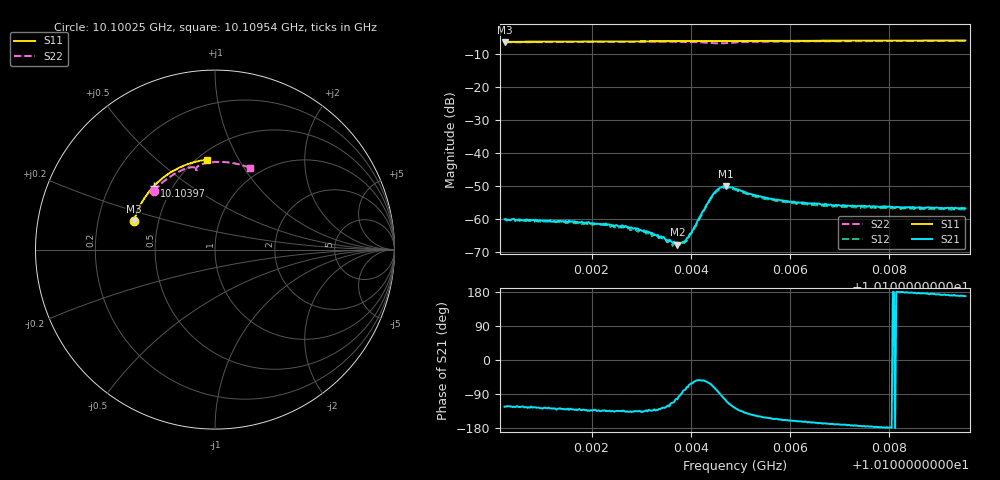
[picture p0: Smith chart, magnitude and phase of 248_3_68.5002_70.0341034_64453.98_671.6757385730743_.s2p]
#  HZ  S  RI  R  50.00
! Rohde & Schwarz Vector Network Analyzer
! Rohde-Schwarz,ZNB20-2Port,1311601062101988,3.16
! Created: UTC 3/20/2024, 4:59:44 PM
! freq[Hz]  re:S11  im:S11  re:S21  im:S21  re:S12  im:S12  re:S22  im:S22
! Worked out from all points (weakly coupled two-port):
!   401 points, 10.10025 GHz to 10.10954 GHz, reference 50 ohm
!   highest |S21| = -50.04 dB at 10.10471 GHz (marker M1); lowest = -67.7 dB at 10.10373 GHz (marker M2)
!   lowest |S11| = -6.4 dB at 10.10025 GHz (marker M3), VSWR 2.84, Z = 18.1 + j7.51 ohm
!   |S11| at or under -10 dB: nowhere
!   |S22| runs from -6.9 to -6.1 dB; largest |S21 - S12| = 0.00034
!   S11 on the Smith chart (normalised r, x): 10.10025 GHz: 0.36, +0.15; 10.10397 GHz: 0.40, +0.37; 10.10954 GHz: 0.56, +0.75
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1.0100247e10  -0.4517 0.1601  -0.000553 -0.000844  -0.000451 -0.000851  -0.3394 0.3279
1.0101409e10  -0.4268 0.2265  -0.000586 -0.000728  -0.00052 -0.000763  -0.2857 0.3803
1.0101804e10  -0.4162 0.248  -0.000624 -0.000682  -0.000528 -0.00067  -0.2653 0.396
1.0102199e10  -0.4045 0.2689  -0.000585 -0.000594  -0.000524 -0.000652  -0.2442 0.4108
1.0102664e10  -0.3891 0.2929  -0.000546 -0.000546  -0.000474 -0.00055  -0.218 0.4267
1.0103013e10  -0.377 0.3101  -0.000497 -0.000454  -0.000415 -0.000496  -0.1974 0.4373
1.0103175e10  -0.371 0.318  -0.000436 -0.000469  -0.000371 -0.000447  -0.1874 0.4419
1.0103361e10  -0.364 0.3268  -0.000328 -0.000405  -0.000297 -0.000438  -0.1755 0.4468
1.010364e10  -0.353 0.3397  -0.000166 -0.000406  -0.000131 -0.000376  -0.157 0.4533
1.0103733e10  -0.3494 0.3439  -9.91e-05 -0.000401  -2.82e-05 -0.000446  -0.1505 0.4552
1.0103849e10  -0.3447 0.3492  7.14e-05 -0.000446  9.07e-05 -0.000446  -0.1419 0.457
1.0103965e10  -0.3399 0.3542  0.00023 -0.000516  0.000277 -0.000456  -0.1333 0.4585
1.0104058e10  -0.3359 0.3584  0.000382 -0.000609  0.000427 -0.000557  -0.1261 0.4588
1.0104314e10  -0.3247 0.3692  0.000898 -0.00137  0.000964 -0.00124  -0.1062 0.454
1.0104453e10  -0.3185 0.375  0.00084 -0.00224  0.000996 -0.00205  -0.1003 0.4469
1.010457e10  -0.3137 0.3797  0.00019 -0.00292  0.000424 -0.00276  -0.1017 0.4422
1.0104709e10  -0.3073 0.3852  -0.000873 -0.00302  -0.000621 -0.00296  -0.1058 0.4455
1.0104895e10  -0.2987 0.3926  -0.00172 -0.00234  -0.00146 -0.0024  -0.1022 0.4574
1.0105546e10  -0.2675 0.4166  -0.00187 -0.000974  -0.0017 -0.00106  -0.0596 0.4797
1.0106452e10  -0.2209 0.4456  -0.00169 -0.000446  -0.00154 -0.000584  0.0011 0.4882
1.0108009e10  -0.134 0.4821  -0.00156 -2.48e-05  -0.00145 -0.000153  0.1015 0.4817
1.0109543e10  -0.0434 0.501  -0.00143 0.000296  -0.0014 0.000125  0.1955 0.455
